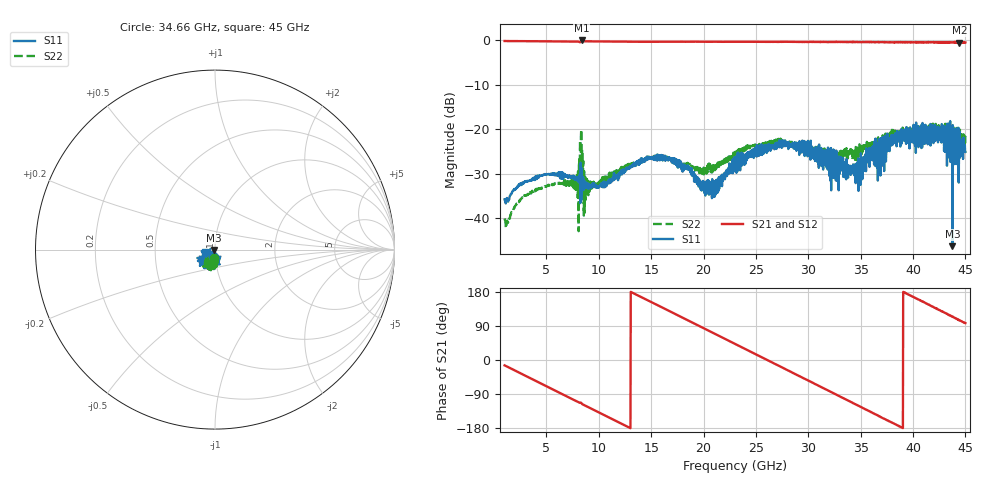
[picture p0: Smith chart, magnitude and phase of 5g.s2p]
!Keysight Technologies,N5247B,MY61255062,A.19.80.06
!Date: Tuesday, May 26, 2026 11:44:01
!Correction: S11(C  2-Port  )
!S21(C  2-Port  )
!S12(C  2-Port  )
!S22(C  2-Port  )
!S2P File: Measurements: S11, S21, S12, S22:
# Hz S  dB  R 50
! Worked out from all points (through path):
!   1601 points, 1 GHz to 45 GHz, reference 50 ohm
!   highest |S21| = 0.00 dB at 8.342 GHz (marker M1); lowest = -0.5 dB at 44.42 GHz (marker M2)
!   group delay of S21, straight-line fit = 38.4 ps
!   lowest |S11| = -46.4 dB at 43.76 GHz (marker M3), VSWR 1.01, Z = 49.6 - j0.264 ohm
!   |S11| at or under -10 dB: start of sweep to end of sweep
!   |S22| runs from -43.0 to -18.6 dB; largest |S21 - S12| = 0.021
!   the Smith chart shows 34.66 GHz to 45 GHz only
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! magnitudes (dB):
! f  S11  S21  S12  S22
! 1 GHz  -35.8  -0.1  -0.1  -40.1
! 3.888 GHz  -31.5  -0.2  -0.2  -34.0
! 7.848 GHz  -31.4  -0.2  -0.2  -31.0
! 8.205 GHz  -30.1  -0.4  -0.4  -22.5
! 8.342 GHz  -28.8  0.0  0.0  -22.7
! 8.783 GHz  -33.2  -0.2  -0.2  -31.0
! 10.6 GHz  -32.3  -0.2  -0.2  -30.4
! 13.84 GHz  -28.0  -0.3  -0.3  -27.3
! 15.69 GHz  -26.2  -0.3  -0.3  -26.4
! 18.52 GHz  -29.0  -0.3  -0.3  -27.7
! 19.7 GHz  -32.2  -0.3  -0.3  -29.4
! 20.91 GHz  -32.4  -0.3  -0.3  -29.2
! 23 GHz  -26.2  -0.3  -0.3  -25.1
! 27.48 GHz  -24.2  -0.3  -0.3  -22.8
! 30.34 GHz  -24.6  -0.3  -0.3  -24.3
! 34.58 GHz  -29.1  -0.4  -0.4  -26.8
! 35.76 GHz  -27.0  -0.4  -0.4  -23.2
! 37.69 GHz  -24.1  -0.4  -0.4  -22.8
! 41.87 GHz  -22.6  -0.4  -0.4  -20.7
! 43.76 GHz  -46.4  -0.4  -0.4  -20.2
! 44.42 GHz  -20.5  -0.5  -0.4  -22.9
! 45 GHz  -25.1  -0.5  -0.5  -21.5
